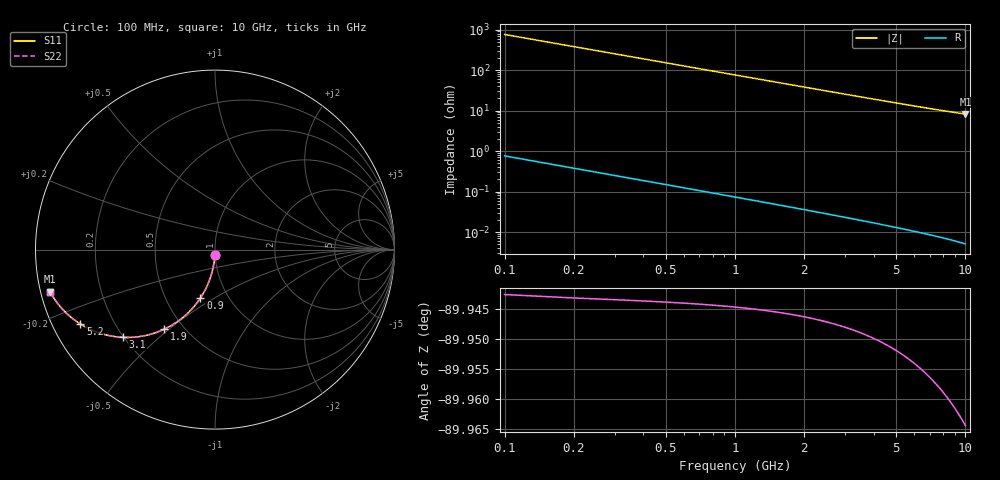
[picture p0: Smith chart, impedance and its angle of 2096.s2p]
# Hz S RI R 50.00
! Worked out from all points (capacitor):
!   100 points, 100 MHz to 10 GHz, reference 50 ohm
!   read as one part in shunt: C = 2.1 pF near 100 MHz
!   lowest |Z| = 8.18 ohm at 10 GHz (marker M1)
!   S11 on the Smith chart (normalised r, x): 100 MHz: 1.00, -0.07; 900 MHz: 0.74, -0.43; 1.9 GHz: 0.39, -0.48; 3.1 GHz: 0.20, -0.39; 5.2 GHz: 0.08, -0.26; 10 GHz: 0.03, -0.12
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1e8  -0.00101 -0.0326  0.9988 -0.0333  0.9988 -0.0333  -0.00101 -0.0326
2e8  -0.0043 -0.0651  0.9955 -0.0664  0.9955 -0.0664  -0.0043 -0.0651
3e8  -0.0097 -0.0971  0.9901 -0.0991  0.9901 -0.0991  -0.0097 -0.0971
4e8  -0.0172 -0.1285  0.9826 -0.1311  0.9826 -0.1311  -0.0172 -0.1285
5e8  -0.0266 -0.159  0.9732 -0.1623  0.9732 -0.1623  -0.0266 -0.159
6e8  -0.0378 -0.1886  0.9619 -0.1926  0.9619 -0.1926  -0.0378 -0.1886
7e8  -0.0508 -0.217  0.949 -0.2217  0.949 -0.2217  -0.0508 -0.217
9e8  -0.0813 -0.27  0.9185 -0.276  0.9185 -0.276  -0.0813 -0.27
1.1e9  -0.1167 -0.3171  0.883 -0.3244  0.883 -0.3244  -0.1167 -0.3171
1.3e9  -0.1558 -0.358  0.8439 -0.3667  0.8439 -0.3667  -0.1558 -0.358
1.5e9  -0.1973 -0.3926  0.8024 -0.4026  0.8024 -0.4026  -0.1973 -0.3926
1.8e9  -0.2615 -0.433  0.7382 -0.445  0.7382 -0.445  -0.2615 -0.433
1.9e9  -0.283 -0.4437  0.7167 -0.4563  0.7167 -0.4563  -0.283 -0.4437
2.5e9  -0.4062 -0.4823  0.5934 -0.499  0.5934 -0.499  -0.4062 -0.4823
3.1e9  -0.5131 -0.4889  0.4865 -0.5097  0.4865 -0.5097  -0.5131 -0.4889
3.4e9  -0.5592 -0.4845  0.4403 -0.5073  0.4403 -0.5073  -0.5592 -0.4845
4.2e9  -0.6602 -0.4589  0.3392 -0.4872  0.3392 -0.4872  -0.6602 -0.4589
5.1e9  -0.7422 -0.4194  0.257 -0.454  0.257 -0.454  -0.7422 -0.4194
5.2e9  -0.7496 -0.4148  0.2495 -0.4501  0.2495 -0.4501  -0.7496 -0.4148
6.7e9  -0.8339 -0.3481  0.1648 -0.394  0.1648 -0.394  -0.8339 -0.3481
8.4e9  -0.8888 -0.2834  0.1092 -0.3418  0.1092 -0.3418  -0.8888 -0.2834
1e10  -0.9198 -0.2335  0.0774 -0.3041  0.0774 -0.3041  -0.9198 -0.2335
